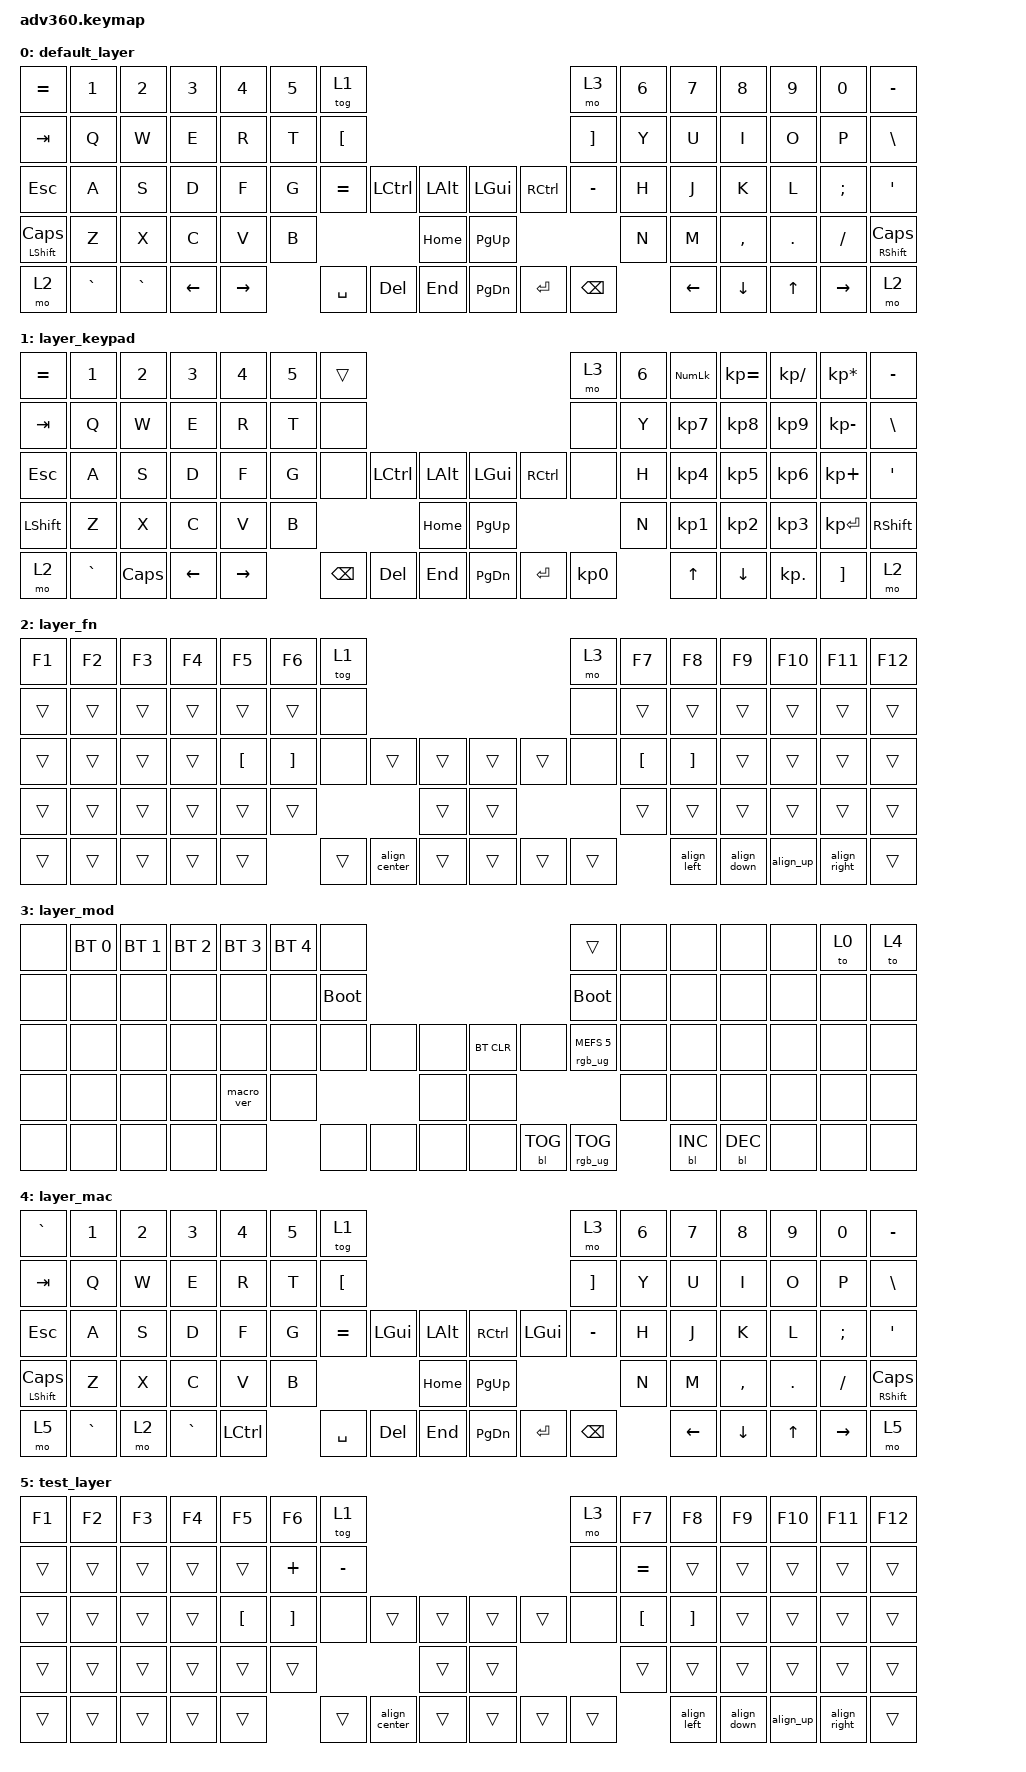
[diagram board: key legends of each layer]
/*
 * Copyright (c) 2020 The ZMK Contributors
 *
 * SPDX-License-Identifier: MIT
 */
/* THIS FILE WAS GENERATED!
 *
 * This file was generated automatically. You may or may not want to
 * edit it directly.
 */

#include <behaviors.dtsi>
#include <dt-bindings/zmk/backlight.h>
#include <dt-bindings/zmk/bt.h>
#include <dt-bindings/zmk/keys.h>
#include <dt-bindings/zmk/rgb.h>

/ {
    behaviors {
        #include "macros.dtsi"
    #include "version.dtsi"

        hm: homerow_mods {
            compatible = "zmk,behavior-hold-tap";
            label = "HOMEROW_MODS";
            #binding-cells = <2>;
            tapping-term-ms = <200>;
            quick_tap_ms = <175>;
            flavor = "tap-preferred";
            bindings = <&kp>, <&kp>;
        };
    };

    macros {
        align_left: align_left {
            compatible = "zmk,behavior-macro";
            #binding-cells = <0>;
            bindings = <&kp LEFT_ALT &kp RIGHT_CONTROL &kp RIGHT>;
            label = "ALIGN_LEFT";
        };

        align_right: align_right {
            compatible = "zmk,behavior-macro";
            #binding-cells = <0>;
            bindings = <&kp LEFT_ALT &kp RIGHT_CONTROL &kp LEFT_ARROW>;
            label = "ALIGN_RIGHT";
        };

        align_center: align_center {
            compatible = "zmk,behavior-macro";
            #binding-cells = <0>;
            bindings = <&kp LEFT_ALT &kp RIGHT_CONTROL &kp ENTER>;
            label = "ALIGN_CENTER";
        };

        align_up: align_up {
            compatible = "zmk,behavior-macro";
            #binding-cells = <0>;
            bindings = <&kp LEFT_ALT &kp RIGHT_CONTROL &kp UP_ARROW>;
            label = "ALIGN_UP";
        };

        align_down: new_macro {
            compatible = "zmk,behavior-macro";
            #binding-cells = <0>;
            bindings = <&kp LEFT_ALT &kp RIGHT_CONTROL &kp DOWN>;
            label = "NEW_MACRO";
        };
    };

    keymap {
        compatible = "zmk,keymap";

        default_layer {
            bindings = <
&kp EQUAL            &kp N1     &kp N2     &kp N3    &kp N4     &kp N5  &tog 1                                                            &mo 3              &kp N6  &kp N7    &kp N8     &kp N9   &kp N0     &kp MINUS
&kp TAB              &kp Q      &kp W      &kp E     &kp R      &kp T   &kp LEFT_BRACKET                                                  &kp RIGHT_BRACKET  &kp Y   &kp U     &kp I      &kp O    &kp P      &kp BSLH
&kp ESC              &kp A      &kp S      &kp D     &kp F      &kp G   &kp EQUAL         &kp LCTRL   &kp LALT      &kp LGUI   &kp RCTRL  &kp MINUS          &kp H   &kp J     &kp K      &kp L    &kp SEMI   &kp SQT
&mt LEFT_SHIFT CAPS  &kp Z      &kp X      &kp C     &kp V      &kp B                                 &kp HOME      &kp PG_UP                                &kp N   &kp M     &kp COMMA  &kp DOT  &kp FSLH   &mt RIGHT_SHIFT CAPS
&mo 2                &kp GRAVE  &kp GRAVE  &kp LEFT  &kp RIGHT          &kp SPACE         &kp DELETE  &kp END       &kp PG_DN  &kp ENTER  &kp BACKSPACE              &kp LEFT  &kp DOWN   &kp UP   &kp RIGHT  &mo 2
            >;
        };

        layer_keypad {
            bindings = <
&kp EQUAL  &kp N1     &kp N2    &kp N3    &kp N4     &kp N5  &trans                                                   &mo 3      &kp N6  &kp KP_NUM  &kp KP_EQUAL  &kp KP_DIVIDE  &kp KP_MULTIPLY  &kp MINUS
&kp TAB    &kp Q      &kp W     &kp E     &kp R      &kp T   &none                                                    &none      &kp Y   &kp KP_N7   &kp KP_N8     &kp KP_N9      &kp KP_MINUS     &kp BSLH
&kp ESC    &kp A      &kp S     &kp D     &kp F      &kp G   &none     &kp LCTRL  &kp LALT      &kp LGUI   &kp RCTRL  &none      &kp H   &kp KP_N4   &kp KP_N5     &kp KP_N6      &kp KP_PLUS      &kp SQT
&kp LSHFT  &kp Z      &kp X     &kp C     &kp V      &kp B                        &kp HOME      &kp PG_UP                        &kp N   &kp KP_N1   &kp KP_N2     &kp KP_N3      &kp KP_ENTER     &kp RSHFT
&mo 2      &kp GRAVE  &kp CAPS  &kp LEFT  &kp RIGHT          &kp BSPC  &kp DEL    &kp END       &kp PG_DN  &kp ENTER  &kp KP_N0          &kp UP      &kp DOWN      &kp KP_DOT     &kp RBKT         &mo 2
            >;
        };

        layer_fn {
            bindings = <
&kp F1  &kp F2  &kp F3  &kp F4  &kp F5            &kp F6             &tog 1                                             &mo 3   &kp F7            &kp F8             &kp F9       &kp F10    &kp F11       &kp F12
&trans  &trans  &trans  &trans  &trans            &trans             &none                                              &none   &trans            &trans             &trans       &trans     &trans        &trans
&trans  &trans  &trans  &trans  &kp LEFT_BRACKET  &kp RIGHT_BRACKET  &none   &trans         &trans      &trans  &trans  &none   &kp LEFT_BRACKET  &kp RIGHT_BRACKET  &trans       &trans     &trans        &trans
&trans  &trans  &trans  &trans  &trans            &trans                                    &trans      &trans                  &trans            &trans             &trans       &trans     &trans        &trans
&trans  &trans  &trans  &trans  &trans                               &trans  &align_center  &trans      &trans  &trans  &trans                    &align_left        &align_down  &align_up  &align_right  &trans
            >;
        };

        layer_mod {
            bindings = <
&none  &bt BT_SEL 0  &bt BT_SEL 1  &bt BT_SEL 2  &bt BT_SEL 3  &bt BT_SEL 4  &none                                                  &trans                  &none  &none       &none       &none  &to 0  &to 4
&none  &none         &none         &none         &none         &none         &bootloader                                            &bootloader             &none  &none       &none       &none  &none  &none
&none  &none         &none         &none         &none         &none         &none        &none  &none      &bt BT_CLR  &none       &rgb_ug RGB_MEFS_CMD 5  &none  &none       &none       &none  &none  &none
&none  &none         &none         &none         &macro_ver    &none                             &none      &none                                           &none  &none       &none       &none  &none  &none
&none  &none         &none         &none         &none                       &none        &none  &none      &none       &bl BL_TOG  &rgb_ug RGB_TOG                &bl BL_INC  &bl BL_DEC  &none  &none  &none
            >;
        };

        layer_mac {
            bindings = <
&kp GRAVE            &kp N1     &kp N2  &kp N3     &kp N4     &kp N5  &tog 1                                                              &mo 3              &kp N6  &kp N7    &kp N8     &kp N9   &kp N0     &kp MINUS
&kp TAB              &kp Q      &kp W   &kp E      &kp R      &kp T   &kp LEFT_BRACKET                                                    &kp RIGHT_BRACKET  &kp Y   &kp U     &kp I      &kp O    &kp P      &kp BSLH
&kp ESC              &kp A      &kp S   &kp D      &kp F      &kp G   &kp EQUAL         &kp LEFT_GUI  &kp LALT      &kp RCTRL  &kp LGUI   &kp MINUS          &kp H   &kp J     &kp K      &kp L    &kp SEMI   &kp SQT
&mt LEFT_SHIFT CAPS  &kp Z      &kp X   &kp C      &kp V      &kp B                                   &kp HOME      &kp PG_UP                                &kp N   &kp M     &kp COMMA  &kp DOT  &kp FSLH   &mt RIGHT_SHIFT CAPS
&mo 5                &kp GRAVE  &mo 2   &kp GRAVE  &kp LCTRL          &kp SPACE         &kp DELETE    &kp END       &kp PG_DN  &kp ENTER  &kp BACKSPACE              &kp LEFT  &kp DOWN   &kp UP   &kp RIGHT  &mo 5
            >;
        };

        test_layer {
            bindings = <
&kp F1  &kp F2  &kp F3  &kp F4  &kp F5            &kp F6             &tog 1                                                &mo 3   &kp F7            &kp F8             &kp F9       &kp F10    &kp F11       &kp F12
&trans  &trans  &trans  &trans  &trans            &kp PLUS           &kp MINUS                                             &none   &kp EQUAL         &trans             &trans       &trans     &trans        &trans
&trans  &trans  &trans  &trans  &kp LEFT_BRACKET  &kp RIGHT_BRACKET  &none      &trans         &trans      &trans  &trans  &none   &kp LEFT_BRACKET  &kp RIGHT_BRACKET  &trans       &trans     &trans        &trans
&trans  &trans  &trans  &trans  &trans            &trans                                       &trans      &trans                  &trans            &trans             &trans       &trans     &trans        &trans
&trans  &trans  &trans  &trans  &trans                               &trans     &align_center  &trans      &trans  &trans  &trans                    &align_left        &align_down  &align_up  &align_right  &trans
            >;
        };
    };
};
